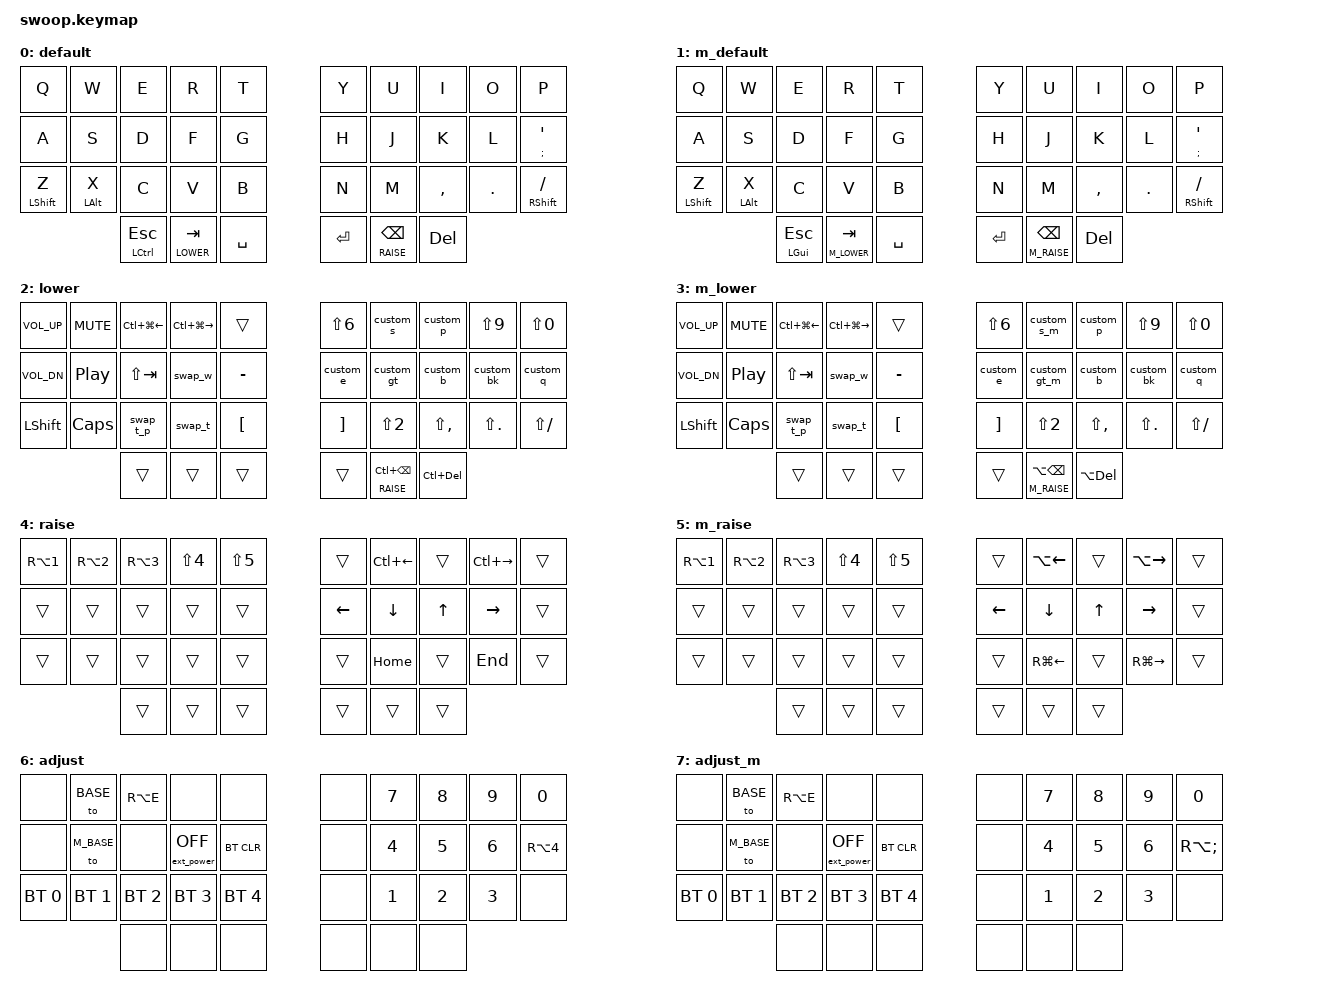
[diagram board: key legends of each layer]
/*
 * Copyright (c) 2020 The ZMK Contributors
 *
 * SPDX-License-Identifier: MIT
 */

 /*       36 KEY MATRIX / LAYOUT MAPPING
  ╭-─────────────────────┬────────────────────╮
  │  0   1   2   3   4   │   5   6   7   8   9│
  │ 10  11  12  13  14   │  15  16  17  18  19│
  │ 20  21  22  23  24   │  25  26  27  28  29│
  ╰──────────╮  30 31 32 │ 33  34  35  ╭──────╯
             ╰───────────┴─────────────╯        */

#include <behaviors.dtsi>
#include <dt-bindings/zmk/keys.h>
#include <dt-bindings/zmk/bt.h>
#include <dt-bindings/zmk/ext_power.h>

#define BASE 0
#define M_BASE 1
#define LOWER 2
#define M_LOWER 3
#define RAISE 4
#define M_RAISE 5
#define ADJUST 6
#define M_ADJUST 7

&lt {
    tapping-term-ms = <150>;
    flavor = "hold-preferred";
};

/ {
    combos {
        compatible = "zmk,combos";
        combo_gui_left {
            timeout-ms = <50>;
            key-positions = <3 13>;
            bindings = <&kp LGUI>;
            layers = <BASE>;
        };
        combo_gui_right {
            timeout-ms = <50>;
            key-positions = <6 16>;
            bindings = <&kp LGUI>;
            layers = <BASE>;
        };
        combo_ctrl_left {
            timeout-ms = <50>;
            key-positions = <3 13>;
            bindings = <&kp LCTRL>;
            layers = <M_BASE>;
        };
        combo_ctrl_right {
            timeout-ms = <50>;
            key-positions = <6 16>;
            bindings = <&kp LCTRL>;
            layers = <M_BASE>;
        };
    };

    behaviors {
        lp: long_press {
            compatible = "zmk,behavior-hold-tap";
            #binding-cells = <2>;
            flavor = "hold-preferred";
            tapping-term-ms = <300>;
            bindings = <&kp>, <&kp>;
            hold-trigger-key-positions = <1>;
            label = "long press";
        };
        mt_b: mod_tap_balanced {
            compatible = "zmk,behavior-hold-tap";
            #binding-cells = <2>;
            flavor = "balanced";
            tapping-term-ms = <150>;
            bindings = <&kp>, <&kp>;
            label = "mod-tap balanced";
        };
        custom_p: custom_parenthesis {
            compatible = "zmk,behavior-mod-morph";
            #binding-cells = <0>;
            bindings = <&kp LS(N8)>, <&kp LS(N9)>;
            mods = <(MOD_LSFT|MOD_RSFT)>;
            label = "custom parenthesis";
        };
        custom_gt: custom_gt {
            compatible = "zmk,behavior-mod-morph";
            #binding-cells = <0>;
            bindings = <&kp NUBS>, <&kp LS(NUBS)>;
            mods = <(MOD_LSFT|MOD_RSFT)>;
            label = "custom greater than";
        };
        custom_gt_m: custom_gt_m {
            compatible = "zmk,behavior-mod-morph";
            #binding-cells = <0>;
            bindings = <&kp GRAVE>, <&kp LS(GRAVE)>;
            mods = <(MOD_LSFT|MOD_RSFT)>;
            label = "custom greater than mac";
        };
        custom_bk: custom_bracket {
            compatible = "zmk,behavior-mod-morph";
            #binding-cells = <0>;
            bindings = <&kp RA(LBKT)>, <&kp RA(RBKT)>;
            mods = <(MOD_LSFT|MOD_RSFT)>;
            label = "custom bracket";
        };
        custom_b: custom_brace {
            compatible = "zmk,behavior-mod-morph";
            #binding-cells = <0>;
            bindings = <&kp RA(SQT)>, <&kp RA(NUHS)>;
            mods = <(MOD_LSFT|MOD_RSFT)>;
            label = "custom brace";
        };
        custom_q: custom_question {
            compatible = "zmk,behavior-mod-morph";
            #binding-cells = <0>;
            bindings = <&kp LS(MINUS)>, <&kp PLUS>;
            mods = <(MOD_LSFT|MOD_RSFT)>;
            label = "custom question";
        };
        custom_e: custom_exclamation {
            compatible = "zmk,behavior-mod-morph";
            #binding-cells = <0>;
            bindings = <&kp LS(N1)>, <&kp EQUAL>;
            mods = <(MOD_LSFT|MOD_RSFT)>;
            label = "custom exclamation";
        };
        custom_s: custom_slash {
            compatible = "zmk,behavior-mod-morph";
            #binding-cells = <0>;
            bindings = <&kp LS(N7)>, <&kp RA(GRAVE)>;
            mods = <(MOD_LSFT|MOD_RSFT)>;
            label = "custom slash";
        };
        custom_s_m: custom_slash_mac {
            compatible = "zmk,behavior-mod-morph";
            #binding-cells = <0>;
            bindings = <&kp LS(N7)>, <&kp BSLH>;
            mods = <(MOD_LSFT|MOD_RSFT)>;
            label = "custom slash macos";
        };
        swap_w: tri-state-window {
            compatible = "zmk,behavior-tri-state";
            label = "swap window";
            #binding-cells = <0>;
            bindings = <&kt LALT>, <&kp TAB>, <&kt LALT>;
            ignored-key-positions = <12>;
        };
        swap_t: tri-state-tab {
            compatible = "zmk,behavior-tri-state";
            label = "swap tab";
            #binding-cells = <0>;
            bindings = <&kt LCTRL>, <&kp TAB>, <&kt LCTRL>;
            ignored-key-positions = <22>;
        };
        swap_t_p: tri-state-window-prev {
            compatible = "zmk,behavior-mod-morph";
            #binding-cells = <0>;
            bindings = <&kp LC(LS(TAB))>, <&kp LS(TAB)>;
            mods = <MOD_LCTL>;
            keep-mods = <MOD_LCTL>;
            label = "swap tab prev";
        };
    };

   // Activate ADJUST layers by pressing raise and lower
    conditional_layers {
        compatible = "zmk,conditional-layers";
        adjust_layer {
            if-layers = <LOWER RAISE>;
            then-layer = <ADJUST>;
        };
        adjust_layer_m {
            if-layers = <M_LOWER M_RAISE>;
            then-layer = <M_ADJUST>;
        };
    };
    keymap {
        compatible = "zmk,keymap";

        default_layer {
            label = "default";
// ------------------------------------------------------------------------------------------------------------
// |  Q  |  W  |  E   |  R   |  T   |                   |  Y   |  U    |   I   |  O   |   P   |
// |  A  |  S  |  D   |  F   |  G   |                   |  H   |  J    |   K   |  L   |  Ñ   | 
// |Z/SHIFT|X/ALT| C  |  V   |  B   |                   |  N   |  M    |   ,   |  .   |-/SHIFT|
//               | CTRL/ESC | LOWER/TAB|  SPACE |  | ENTER | RAISE/BKSPC| DEL  |
            bindings = <
&kp Q &kp W    &kp E    &kp R     &kp T                            &kp Y  &kp U     &kp I     &kp O    &kp P
&kp A  &kp S    &kp D    &kp F     &kp G                           &kp H  &kp J     &kp K     &kp L   &lp SEMI SQT 
&mt LSHIFT Z  &mt_b LALT X    &kp C    &kp V  &kp B                  &kp N  &kp M     &kp COMMA &kp DOT  &mt RSHFT FSLH 
            &mt LCTRL ESC &lt LOWER TAB &kp SPACE                  &kp RET  &lt RAISE BSPC &kp DEL
            >;
        };
        default_layer_m {
            label = "m_default";
// ------------------------------------------------------------------------------------------------------------
// |  Q  |  W  |  E   |  R   |  T   |                   |  Y   |  U    |   I   |  O   |   P   |
// |  A  |  S  |  D   |  F   |  G   |                   |  H   |  J    |   K   |  L   |  Ñ   |
// |Z/SHIFT|X/ALT| C  |  V   |  B   |                   |  N   |  M    |   ,   |  .   |-/SHIFT|
//                         | CTRL/ESC | LOWER/TAB|  SPACE |  | ENTER | RAISE/BKSPC| DEL  |
            bindings = <
&kp Q &kp W    &kp E    &kp R     &kp T                            &kp Y  &kp U     &kp I     &kp O    &kp P 
&kp A  &kp S    &kp D    &kp F     &kp G                           &kp H  &kp J     &kp K     &kp L   &lp SEMI SQT 
&mt LSHIFT Z  &mt_b LALT X    &kp C    &kp V  &kp B                  &kp N  &kp M     &kp COMMA &kp DOT  &mt RSHFT FSLH 
                                  &mt LGUI ESC &lt M_LOWER TAB &kp SPACE    &kp RET  &lt M_RAISE BSPC &kp DEL
            >;
        };

        lower_layer {
            label = "lower";
// ------------------------------------------------------------------------------------------------------------
// |VOLU | MUTE|PRV_WPC|NXT_WPC|    |                   |  &   |  /    |  (    |  )   |   =   |
// | VOLD | PLAY | prev_w | swap_w |  '   |                   |  !   |  <    |  {    |  [   |   ?   |
// | SHIFT| CAPS | prev_t | swap_t |  `   |                   |  +   |  "    |  ;    |  :   |   _   |
//                            |      |      |        |  |       |     | WORD_DEL |
// ------------------------------------------------------------------------------------------------------------
            bindings = <
&kp C_VOL_UP &kp C_MUTE &kp LC(LG(LEFT)) &kp LC(LG(RIGHT)) &trans      &kp LS(N6) &custom_s     &custom_p &kp LS(N9)  &kp LS(N0) 
&kp C_VOL_DN &kp C_PP &kp LS(TAB) &swap_w  &kp MINUS                      &custom_e &custom_gt  &custom_b &custom_bk &custom_q 
&kp LSHFT &kp CAPS    &swap_t_p &swap_t  &kp LBKT                          &kp RBKT &kp LS(N2) &kp LS(COMMA) &kp LS(DOT) &kp LS(FSLH) 
                                   &trans    &trans  &trans &trans  &lt RAISE LC(BSPC)  &kp LC(DEL)
            >;
        };
        lower_layer_m {
            label = "m_lower";
// ------------------------------------------------------------------------------------------------------------
// |VOLU | MUTE|PRV_WPC|NXT_WPC|      |                   |  &   |  /    |  (    |  )   |   =   |
// | VOLD | PLAY | prev_w | swap_w |  '   |                   |  !   |  <    |  {    |  [   |   ?   |
// | SHIFT| CAPS | prev_t | swap_t |  `   |                   |  +   |  "    |  ;    |  :   |   _   |
//                            |      |      |        |  |       |     | WORD_DEL |
// ------------------------------------------------------------------------------------------------------------

            bindings = <
&kp C_VOL_UP &kp C_MUTE &kp LC(LG(LEFT)) &kp LC(LG(RIGHT)) &trans   &kp LS(N6) &custom_s_m     &custom_p &kp LS(N9)  &kp LS(N0) 
&kp C_VOL_DN &kp C_PP &kp LS(TAB) &swap_w  &kp MINUS                   &custom_e  &custom_gt_m &custom_b &custom_bk  &custom_q 
&kp LSHFT &kp CAPS    &swap_t_p &swap_t  &kp LBKT                        &kp RBKT &kp LS(N2) &kp LS(COMMA) &kp LS(DOT) &kp LS(FSLH) 
                                       &trans    &trans  &trans &trans  &lt M_RAISE LA(BSPC)  &kp LA(DEL)
            >;
        };

        raise_layer {
            label = "raise";
// ------------------------------------------------------------------------------------------------------------
// |   |  |   @  |   #   |   $   |   %  |                |      |PRVWD |       |NXTWD |       |
// |      |      |       |       |      |                |  <-  |   v  |   ^   |  ->  |       |
// |      |      |       |       |      |                |      | HOME |       | END  |       |
//                               |       |      |      |  |      |      |      |
            bindings = <
&kp RA(N1)   &kp RA(N2)   &kp RA(N3)  &kp LS(N4)   &kp LS(N5)               &trans       &kp LC(LEFT) &trans &kp LC(RIGHT) &trans 
&trans      &trans       &trans      &trans       &trans                    &kp LEFT     &kp DOWN   &kp UP &kp RIGHT   &trans 
&trans      &trans       &trans      &trans       &trans                    &trans       &kp HOME    &trans   &kp END    &trans 
                        &trans       &trans      &trans                       &trans  &trans    &trans
            >;
        };
        raise_layer_m {
            label = "m_raise";
// ------------------------------------------------------------------------------------------------------------
// |   |  |   @  |   #   |   $   |   %  |                |      |PRVWD |       |NXTWD |       |
// |      |      |       |       |      |                |  <-  |  v   |   ^   |  ->  |       |
// |      |      |       |       |      |                |      | HOME |       | END  |       |
//                               |       |      |      |  |      |      |      |
            bindings = <
&kp RA(N1)   &kp RA(N2)   &kp RA(N3)  &kp LS(N4)   &kp LS(N5)               &trans     &kp LA(LEFT) &trans &kp LA(RIGHT) &trans
&trans       &trans       &trans      &trans       &trans                   &kp LEFT   &kp DOWN   &kp UP &kp RIGHT   &trans 
&trans       &trans       &trans      &trans       &trans                   &trans  &kp RG(LEFT)    &trans   &kp RG(RIGHT)    &trans 
                         &trans       &trans        &trans                 &trans  &trans    &trans
            >;
        };

        adjust_layer {
// ----------------------------------------------------------------------------------------------------------------------------
// |         |  WIN    |    €    |         |         |                 |      |   7  |   8   |  9   |   0   |
// |         |  MAC    |        |  EXTPWR |  BTCLR  |                  |      |   4  |   5   |  6   |   ~   |
// |  BT1   |  BT2    |   BT3   |   BT4   |   BT5   |                  |      |   1  |   2   |  3   |       |
//                              |         |         |         | |      |      |      |
            label = "adjust";
            bindings = <
&none        &to BASE    &kp RA(E)   &none       &none                                  &none &kp N7 &kp N8 &kp N9 &kp N0 
&none        &to M_BASE  &none  &ext_power EP_OFF &bt BT_CLR                            &none &kp N4 &kp N5 &kp N6 &kp RA(N4) 
&bt BT_SEL 0 &bt BT_SEL 1 &bt BT_SEL 2 &bt BT_SEL 3 &bt BT_SEL 4                      &none  &kp N1 &kp N2 &kp N3 &none 
                                  &none   &none   &none           &none  &none &none 
            >;
        };
        adjust_layer_m {
// ----------------------------------------------------------------------------------------------------------------------------
// |         |  WIN    |    €    |         |         |                  |      |   7  |   8   |  9   |   0   |
// |         |  MAC    |         |  EXTPWR |  BTCLR  |                  |      |   4  |   5   |  6   |   ~   |
// |  BT1    |  BT2    |   BT3   |   BT4   |   BT5   |                  |      |   1  |   2   |  3   |       |
//                               |         |         |         | |      |      |      |
            label = "adjust_m";
             bindings = <
&none        &to BASE    &kp RA(E)   &none       &none                                  &none &kp N7 &kp N8 &kp N9 &kp N0 
&none        &to M_BASE  &none  &ext_power EP_OFF &bt BT_CLR                            &none &kp N4 &kp N5 &kp N6 &kp RA(SEMI) 
&bt BT_SEL 0  &bt BT_SEL 1  &bt BT_SEL 2  &bt BT_SEL 3  &bt BT_SEL 4                      &none  &kp N1 &kp N2 &kp N3 &none 
                                  &none   &none   &none           &none  &none &none 
            >;
        };

    };
};
